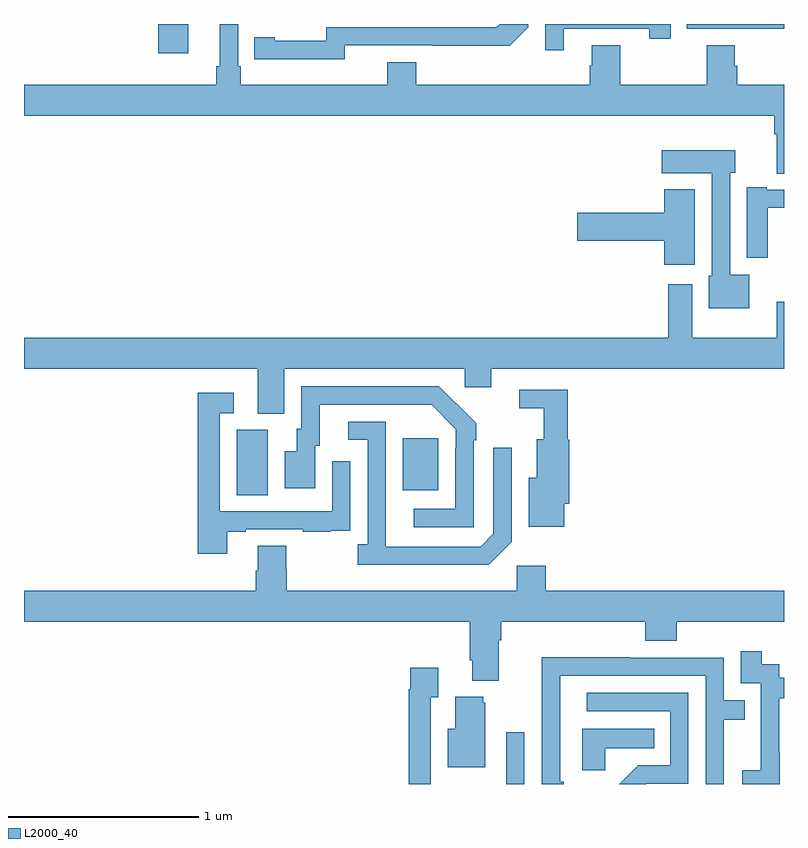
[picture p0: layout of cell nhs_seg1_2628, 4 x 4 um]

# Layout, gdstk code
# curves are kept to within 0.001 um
import gdstk
lib = gdstk.Library(unit=1e-6, precision=1e-09)
def R(c, l, rs):  # rectangles x0, y0, x1, y1
    for r in rs: c.add(gdstk.rectangle(r[:2], r[2:], *l))
def P(c, l, *ps):  # polygons
    for p in ps: c.add(gdstk.Polygon(p, *l))
L2000_40 = (2000, 40)

nhs_seg1_2628 = lib.new_cell('nhs_seg1_2628')
R(nhs_seg1_2628, L2000_40, [(255.537,564.199,255.633,564.472), (254.12,565.72,254.284,566.064), (254.993,565.745,255.181,566.02), (253.706,568.044,253.864,568.199), (256.488,568.173,257,568.199)])
P(nhs_seg1_2628, L2000_40, [(255.841,568.173),(256.292,568.173),(256.292,568.122),(256.403,568.122),(256.403,568.199),(255.744,568.199),(255.744,568.062),(255.841,568.062)],
  [(257,567.88),(256.754,567.88),(256.754,567.978),(256.741,567.978),(256.741,568.088),(256.594,568.088),(256.594,567.88),(256.137,567.88),(256.137,568.088),(255.989,568.088),(255.989,567.978),(255.977,567.978),(255.977,567.88),(255.065,567.88),(255.065,567.997),(254.912,567.997),(254.912,567.88),(254.141,567.88),(254.141,567.976),(254.127,567.976),(254.127,568.199),(254.03,568.199),(254.03,567.976),(254.011,567.976),(254.011,567.88),(253,567.88),(253,567.716),(256.949,567.716),(256.949,567.62),(256.961,567.62),(256.961,567.412),(257,567.412)],
  [(254.688,568.086),(255.556,568.085),(255.654,568.182),(255.654,568.199),(255.503,568.199),(255.486,568.182),(254.592,568.182),(254.592,568.11),(254.32,568.11),(254.32,568.13),(254.212,568.13),(254.212,568.014),(254.688,568.013)],
  [(256.816,566.878),(256.716,566.878),(256.716,567.417),(256.744,567.417),(256.744,567.535),(256.356,567.535),(256.356,567.413),(256.62,567.413),(256.62,566.874),(256.604,566.874),(256.604,566.702),(256.816,566.702)],
  [(256.915,567.231),(257,567.231),(257,567.327),(256.909,567.327),(256.909,567.34),(256.805,567.34),(256.805,566.97),(256.915,566.97)],
  [(256.531,567.328),(256.37,567.328),(256.37,567.206),(255.912,567.206),(255.912,567.059),(256.37,567.059),(256.37,566.931),(256.531,566.931)],
  [(254.371,566.384),(255.321,566.384),(255.321,566.286),(255.46,566.286),(255.46,566.384),(257,566.384),(257,566.737),(256.961,566.737),(256.961,566.548),(256.516,566.548),(256.516,566.83),(256.391,566.83),(256.391,566.548),(253,566.548),(253,566.384),(254.231,566.384),(254.231,566.149),(254.371,566.149)],
  [(255.366,566.009),(255.381,566.009),(255.381,566.097),(255.184,566.292),(254.46,566.292),(254.46,566.07),(254.435,566.07),(254.435,565.951),(254.372,565.951),(254.372,565.755),(254.533,565.755),(254.533,565.98),(254.557,565.98),(254.557,566.196),(255.145,566.196),(255.273,566.067),(255.273,565.967),(255.27,565.967),(255.27,565.647),(255.051,565.647),(255.051,565.551),(255.366,565.551)],
  [(255.844,565.674),(255.869,565.674),(255.869,566.01),(255.863,566.01),(255.863,566.274),(255.606,566.274),(255.606,566.177),(255.735,566.177),(255.735,566.014),(255.698,566.014),(255.698,565.81),(255.656,565.81),(255.656,565.553),(255.844,565.553)],
  [(254.071,565.527),(254.167,565.527),(254.167,565.539),(254.467,565.539),(254.467,565.527),(254.615,565.527),(254.615,565.533),(254.717,565.533),(254.717,565.642),(254.718,565.642),(254.718,565.897),(254.622,565.897),(254.622,565.635),(254.031,565.635),(254.031,566.151),(254.104,566.151),(254.104,566.257),(253.915,566.257),(253.915,565.41),(254.071,565.41)],
  [(255.567,565.473),(255.567,565.969),(255.471,565.969),(255.471,565.515),(255.405,565.449),(254.905,565.449),(254.904,566.106),(254.706,566.106),(254.706,566.01),(254.808,566.01),(254.808,565.462),(254.757,565.462),(254.757,565.352),(255.446,565.352)],
  [(255.499,564.956),(255.512,564.956),(255.512,565.052),(256.271,565.052),(256.271,564.953),(256.436,564.953),(256.436,565.052),(257,565.052),(257,565.216),(255.746,565.216),(255.746,565.348),(255.594,565.348),(255.594,565.216),(254.384,565.216),(254.384,565.329),(254.379,565.329),(254.379,565.454),(254.231,565.454),(254.231,565.322),(254.219,565.322),(254.219,565.216),(253,565.216),(253,565.052),(255.347,565.052),(255.347,564.85),(255.359,564.85),(255.359,564.743),(255.499,564.743)],
  [(256.977,564.367),(256.976,564.367),(256.976,564.651),(257,564.651),(257,564.759),(256.974,564.759),(256.974,564.828),(256.882,564.828),(256.882,564.898),(256.773,564.898),(256.773,564.729),(256.878,564.729),(256.878,564.5),(256.877,564.5),(256.877,564.271),(256.779,564.271),(256.779,564.199),(256.977,564.199)],
  [(255.841,564.21),(255.822,564.21),(255.822,564.768),(256.587,564.768),(256.587,564.199),(256.683,564.199),(256.683,564.538),(256.793,564.538),(256.793,564.639),(256.683,564.639),(256.683,564.864),(256.187,564.864),(256.187,564.866),(255.724,564.866),(255.724,564.559),(255.726,564.559),(255.726,564.199),(255.841,564.199)],
  [(255.141,564.655),(255.181,564.655),(255.181,564.811),(255.033,564.811),(255.033,564.698),(255.025,564.698),(255.025,564.199),(255.141,564.199)],
  [(256.278,564.201),(256.497,564.201),(256.497,564.678),(255.963,564.678),(255.963,564.582),(256.401,564.582),(256.401,564.297),(256.232,564.297),(256.134,564.199),(256.276,564.199)],
  [(255.427,564.627),(255.416,564.627),(255.416,564.658),(255.269,564.658),(255.269,564.49),(255.23,564.49),(255.23,564.287),(255.427,564.287)],
  [(256.059,564.386),(256.316,564.386),(256.316,564.49),(255.938,564.49),(255.938,564.271),(256.059,564.271)])

lib.write_gds('nhs_seg1_2628.gds')
